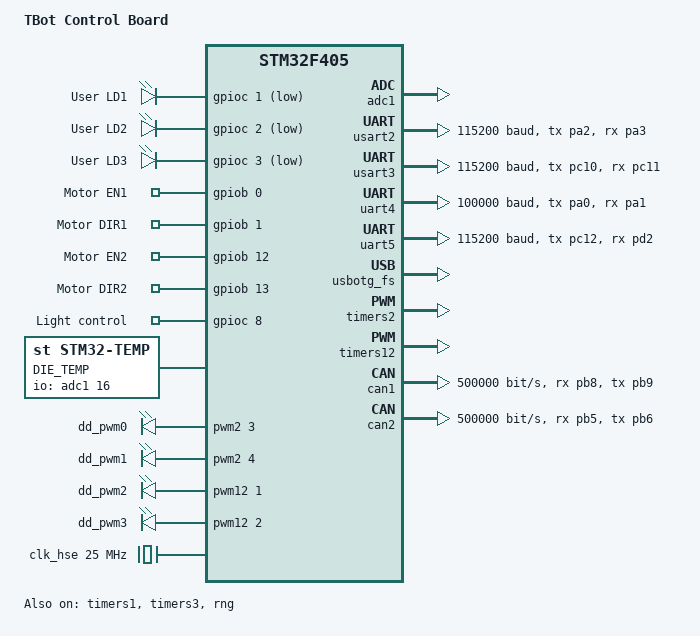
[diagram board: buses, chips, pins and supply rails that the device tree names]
/*
 * Copyright (c) 2017 Linaro Limited
 *
 * SPDX-License-Identifier: Apache-2.0
 */

/dts-v1/;
#include <st/f4/stm32f405Xg.dtsi>
#include <st/f4/stm32f405rgtx-pinctrl.dtsi>
#include <dt-bindings/encoder/encoder.h>

/ {
    model = "TBot Control Board";
    compatible = "st,stm32f405";

    chosen {
        zephyr,console = &uart5;
        // zephyr,shell-uart = &usart6; // for bootloader
        zephyr,sram = &sram0;
        zephyr,flash = &flash0;
        zephyr,ccm = &ccm0;
        zephyr,can-primary = &can2;
        zephyr,code-partition = &slot0_partition;
    };

    leds {
        compatible = "gpio-leds";
        led0: led_1 {
            gpios = <&gpioc 1 GPIO_ACTIVE_LOW>;
            label = "User LD1";
        };
        led1: led_2 {
            gpios = <&gpioc 2 GPIO_ACTIVE_LOW>;
            label = "User LD2";
        };
        led2: led_3 {
            gpios = <&gpioc 3 GPIO_ACTIVE_LOW>;
            label = "User LD3";
        };
    };

    gpio_keys {
        compatible = "gpio-keys";
        dio0: motor_en11 {
            gpios = <&gpiob 0 GPIO_ACTIVE_HIGH>;
            label = "Motor EN1";
        };
        dio1: motor_dir1 {
            gpios = <&gpiob 1 GPIO_ACTIVE_HIGH>;
            label = "Motor DIR1";
        };
        dio2: motor_en2 {
            gpios = <&gpiob 12 GPIO_ACTIVE_HIGH>;
            label = "Motor EN2";
        };
        dio3: motor_dir2 {
            gpios = <&gpiob 13 GPIO_ACTIVE_HIGH>;
            label = "Motor DIR2";
        };
        dio4: light_ctrl {
            gpios = <&gpioc 8 GPIO_ACTIVE_HIGH>;
            label = "Light control";
        };
        // estop: exti_2 {
            //     gpios = <&gpioc 12 GPIO_ACTIVE_HIGH>;
            //     label = "Emergency Stop Button";
        // };
    };

    stm-temp {
        label = "DIE_TEMP";
        compatible = "st,stm32-temp";
        io-channels = <&adc1 16>;
        status = "okay";
    };

    // tim_enc1: tim_encoder1 {
    //     label = "TIM1_ENCODER";
    //     compatible = "st,stm32-encoder";
    //     st,prescaler = <200>;
    //     pinctrl-0 = <&tim1_ch1_pa8 &tim1_ch2_pa9>;
    //     #encoder-cells = <3>;
    //     status = "okay";
    // };

    pwm_outputs {
        compatible = "pwm-leds";
        dd_pwm0: pwm_output_0 {
            pwms = <&pwm2 3 100 PWM_POLARITY_NORMAL>;
        };
        dd_pwm1: pwm_output_1 {
            pwms = <&pwm2 4 100 PWM_POLARITY_NORMAL>;
        };
        dd_pwm2: pwm_output_2 {
            pwms = <&pwm12 1 100 PWM_POLARITY_NORMAL>;
        };
        dd_pwm3: pwm_output_3 {
            pwms = <&pwm12 2 100 PWM_POLARITY_NORMAL>;
        };
    };

    aliases {
        xled0 = &led0;
        xled1 = &led1;
        xled2 = &led2;
        xdio0 = &dio0;
        xdio1 = &dio1;
        xdio2 = &dio2;
        xdio3 = &dio3;
        xdio4 = &dio4;
        xpwm0 = &dd_pwm0;
        xpwm1 = &dd_pwm1;
        xpwm2 = &dd_pwm2;
        xpwm3 = &dd_pwm3;
        xuart0 = &uart4;
        xuart1 = &usart2;
        xuart2 = &usart3;
        xcan0 = &can1;
        xcan1 = &can2;
        xencoder0 = &encoder1;
        xencoder1 = &encoder3;
    };
};

&clk_hse {
    hse-bypass;
    clock-frequency = <DT_FREQ_M(25)>; /* STLink 8MHz clock */
    status = "okay";
};

&pll {
    div-m = <25>;
    mul-n = <336>;
    div-p = <2>;
    div-q = <4>;
    clocks = <&clk_hse>;
    status = "okay";
};

&rcc {
    clocks = <&pll>;
    clock-frequency = <DT_FREQ_M(168)>; /* highest value to get a precise USB clock */
    ahb-prescaler = <1>;
    apb1-prescaler = <4>;
    apb2-prescaler = <2>;
};

&adc1 {
    status = "okay";
};

&dma1 {
    status = "okay";
};

&dma2 {
    status = "okay";
};

// &i2c1 {
    //   status = "okay";
    //   clock-frequency = <I2C_BITRATE_FAST>;
// };

// &spi1 {
    //   status = "okay";
// };

//  dma-mask rx = 000000000000000 01 0 00 00 1 0 0 10 000000  0x10480
//  dma-mask tx = 000000000000000 01 0 00 00 1 0 0 01 000000  0x10440
// Reference: https: //docs.zephyrproject.org/2.6.0/reference/devicetree/bindings/dma/st%2Cstm32-dma-v1.html#dtbinding-st-stm32-dma-v1
&usart2 {
    pinctrl-0 = <&usart2_tx_pa2 &usart2_rx_pa3>;
    current-speed = <115200>;
    status = "okay";
    dmas = <&dma1 5 4 0x10480 0x03>, <&dma1 6 4 0x10440 0x03>;
    dma-names = "rx", "tx";
};

&usart3 {
    pinctrl-0 = <&usart3_tx_pc10 &usart3_rx_pc11>;
    current-speed = <115200>;
    status = "okay";
    dmas = <&dma1 3 4 0x10480 0x03>, <&dma1 1 4 0x10440 0x03>;
    dma-names = "rx", "tx";
};

&uart4 {
    status = "okay";
    pinctrl-0 = <&uart4_tx_pa0 &uart4_rx_pa1>;
    current-speed = <100000>;
    dmas = <&dma1 2 4 0x10480 0x03>;
    dma-names = "rx";
};

&uart5 {
    //   parity = "0";
    pinctrl-0 = <&uart5_tx_pc12 &uart5_rx_pd2>;
    current-speed = <115200>;
    status = "okay";
};

&usbotg_fs {
    status = "okay";
};

&timers1 {
    status = "okay";

    encoder1: encoder {
        label = "TIM1_ENCODER";
        compatible = "st,stm32-encoder";
        st,encoder-mode = <ENCODER_MODE_X4_TI12>;
        st,prescaler = <0>;
        pinctrl-0 = <&tim1_ch1_pa8 &tim1_ch2_pa9>;
        status = "okay";
    };
};

&timers2 {
    status = "okay";

    pwm2: pwm {
        status = "okay";
        pinctrl-0 = <&tim2_ch3_pb10 &tim2_ch4_pb11>;
    };
};

&timers3 {
    status = "okay";

    encoder3: encoder {
        label = "TIM3_ENCODER";
        compatible = "st,stm32-encoder";
        st,encoder-mode = <ENCODER_MODE_X4_TI12>;
        st,prescaler = <0>;
        pinctrl-0 = <&tim3_ch1_pc6 &tim3_ch2_pc7>;
        status = "okay";
    };
};

&timers12 {
    status = "okay";

    pwm12: pwm {
        status = "okay";
        pinctrl-0 = <&tim12_ch1_pb14 &tim12_ch2_pb15>;
    };
};

// &rtc {
    //   status = "okay";
// };

// &iwdg {
    //   status = "okay";
// };

&can1 {
    pinctrl-0 = <&can1_rx_pb8 &can1_tx_pb9>;
    bus-speed = <500000>;
    sjw = <1>;
    prop-seg = <0>;
    phase-seg1 = <10>;
    phase-seg2 = <1>;
    status = "okay";
};

&can2 {
    pinctrl-0 = <&can2_rx_pb5 &can2_tx_pb6>;
    bus-speed = <500000>;
    sjw = <1>;
    prop-seg = <0>;
    phase-seg1 = <10>;
    phase-seg2 = <1>;
    status = "okay";
};

&rng {
    status = "okay";
};

&flash0 {
    /*
     * For more information, see:
     * https: //docs.zephyrproject.org/latest/reference/devicetree/index.html#fixed-flash-partitions
     */
    partitions {
        compatible = "fixed-partitions";
        #address-cells = <1>;
        #size-cells = <1>;

        /* 64KB for bootloader */
        boot_partition: partition@0 {
            label = "mcuboot";
            reg = <0x00000000 0x00010000>;
            read-only;
        };

        /* storage: 64KB for settings */
        storage_partition: partition@10000 {
            label = "storage";
            reg = <0x00010000 0x00010000>;
        };

        /* application image slot: 256KB */
        slot0_partition: partition@20000 {
            label = "image-0";
            reg = <0x00020000 0x00040000>;
        };

        /* backup slot: 256KB */
        slot1_partition: partition@60000 {
            label = "image-1";
            reg = <0x00060000 0x00040000>;
        };

        /* swap slot: 128KB */
        scratch_partition: partition@a0000 {
            label = "image-scratch";
            reg = <0x000a0000 0x00020000>;
        };

    };
};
